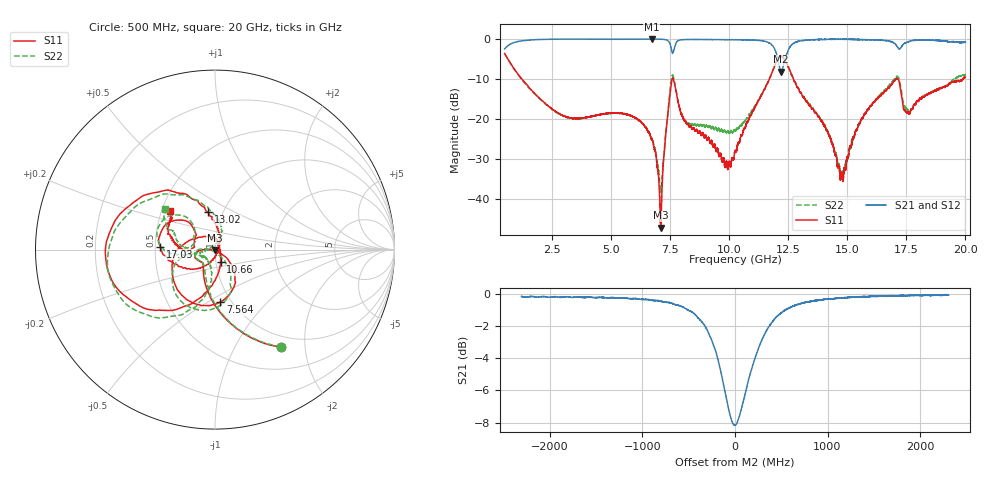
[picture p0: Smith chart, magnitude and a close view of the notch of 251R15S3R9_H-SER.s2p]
!{251R15S3R9}
!Johanson Technology Inc.
!www.johansontechnology.com
!Test Board Conditions:
!Substrate Type  RO4350B
!Substrate Thickness  20 mil
!Substrate Dk  3.66
!TL Type: GCPW
!TL Trace Width  34 mil
!TL Gap  10 mil
!Electrode orientation  Horizontal
!DUT TOPOLOGY	SERIES
!Mounting Pad LxW  26x52 mil
! Created Thu Mar 12 16:40:57 2020
# mhz S ma R 50
! 2 Port Network Data from SP1.SP block
! freq  magS11  angS11  magS21  angS21  magS12  angS12  magS22  angS22
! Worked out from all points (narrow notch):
!   19501 points, 500 MHz to 20 GHz, reference 50 ohm
!   highest |S21| = -0.05 dB at 6.718 GHz (marker M1); lowest = -8.2 dB at 12.21 GHz (marker M2)
!   notch at M2: 8.0 dB deep, 385 MHz wide at half that depth
!   lowest |S11| = -47.2 dB at 7.113 GHz (marker M3), VSWR 1.01, Z = 50 - j0.435 ohm
!   |S11| at or under -10 dB: 1.225 GHz to 7.588 GHz (6.363 GHz wide, 144 % of centre); 7.633 GHz to 11.7 GHz (4.07 GHz wide, 42.1 % of centre); 12.72 GHz to 17.07 GHz (4.343 GHz wide, 29.2 % of centre) (the widest 3 of 7)
!   |S22| runs from -38.4 to -3.7 dB; largest |S21 - S12| = 0.02
!   S11 on the Smith chart (normalised r, x): 500 MHz: 0.82, -1.56; 7.564 GHz: 0.89, -0.57; 10.66 GHz: 1.05, -0.15; 13.02 GHz: 0.85, +0.37; 17.03 GHz: 0.53, +0.02; 20 GHz: 0.55, +0.27
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500  0.6566 -56.0  0.7492 34.6  0.7508 34.5  0.6544 -55.8
1579  0.2379 -99.4  0.9693 -7.7  0.9679 -7.7  0.2367 -97.4
3750  0.1019 -136.8  0.9917 -49.4  0.9926 -49.4  0.1012 -139.0
5758  0.1119 -168.1  0.99 -81.9  0.9896 -81.8  0.1113 -171.6
6718  0.0556 177.7  0.9943 -98.0  0.9935 -98.0  0.05752 175.1
7000  0.02157 179.5  0.993 -103.4  0.9929 -103.4  0.02529 -173.7
7113  0.004378 -95.8  0.9915 -105.9  0.9915 -105.9  0.01263 -118.3
7564  0.2941 -84.1  0.7253 -120.2  0.7264 -120.2  0.3243 -89.0
8176  0.0899 126.1  0.9819 -115.7  0.9818 -115.6  0.09157 -159.5
10250  0.03966 -33.9  0.9766 -153.1  0.9783 -153.1  0.07084 -123.5
10661  0.07594 -65.4  0.9722 -161.0  0.9736 -161.0  0.09243 -107.4
11909  0.4425 -130.1  0.7668 161.5  0.77 161.4  0.4453 -123.3
12206  0.6114 179.7  0.3899 -179.7  0.395 -180.0  0.6044 -172.7
12499  0.4498 134.5  0.7205 -158.5  0.7235 -159.0  0.4415 138.4
13016  0.2123 100.2  0.944 -178.8  0.9425 -178.8  0.2152 94.3
13500  0.1334 87.7  0.9726 169.2  0.9733 169.2  0.1375 75.2
14771  0.02099 -14.3  0.9898 144.5  0.9891 144.4  0.02118 115.9
15548  0.08902 -115.7  0.9793 130.1  0.9836 130.1  0.0919 -170.1
16750  0.2442 -162.1  0.9454 106.4  0.9344 105.8  0.2576 -175.4
17030  0.3051 177.0  0.8642 99.1  0.8568 99.0  0.3259 169.8
17580  0.1212 166.5  0.9194 102.4  0.9196 102.7  0.1285 157.9
20000  0.3327 139.3  0.9054 50.9  0.9035 51.0  0.3598 141.1
